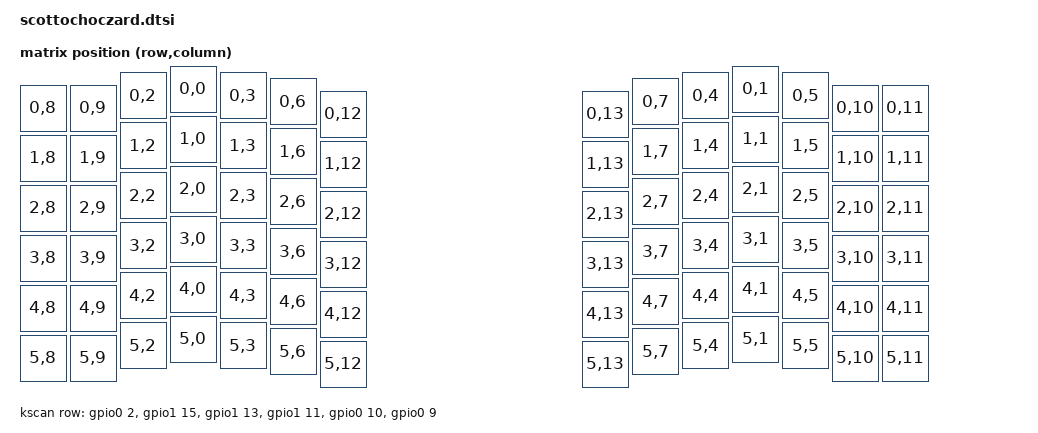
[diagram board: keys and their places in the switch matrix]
#include <physical_layouts.dtsi>
#include <dt-bindings/zmk/matrix_transform.h>

/ {
    chosen {
        zmk,physical-layout = &layout;
    };

    kscan: kscan {
        compatible = "zmk,kscan-gpio-matrix";
        diode-direction = "col2row";

        row-gpios =  <&gpio0 2 (GPIO_ACTIVE_HIGH | GPIO_PULL_DOWN)>,   /* Row 0 GPIO 002 */ 
                     <&gpio1 15 (GPIO_ACTIVE_HIGH | GPIO_PULL_DOWN)>,  /* Row 1 GPIO 115 */ 
                     <&gpio1 13 (GPIO_ACTIVE_HIGH | GPIO_PULL_DOWN)>,  /* Row 2 GPIO 113 */ 
                     <&gpio1 11 (GPIO_ACTIVE_HIGH | GPIO_PULL_DOWN)>,  /* Row 3 GPIO 111 */ 
                     <&gpio0 10 (GPIO_ACTIVE_HIGH | GPIO_PULL_DOWN)>,  /* Row 4 GPIO 010 */ 
                     <&gpio0 9 (GPIO_ACTIVE_HIGH | GPIO_PULL_DOWN)>;   /* Row 5 GPIO 009 */
    };

    transform: matrix_transform {
        compatible = "zmk,matrix-transform";
        rows = <6>;
        columns = <14>;

        map = <
            RC(0,0) RC(0,1) RC(0,2) RC(0,3) RC(0,4) RC(0,5) RC(0,6) RC(0,7) RC(0,8) RC(0,9) RC(0,10) RC(0,11) RC(0,12) RC(0,13)
            RC(1,0) RC(1,1) RC(1,2) RC(1,3) RC(1,4) RC(1,5) RC(1,6) RC(1,7) RC(1,8) RC(1,9) RC(1,10) RC(1,11) RC(1,12) RC(1,13)
            RC(2,0) RC(2,1) RC(2,2) RC(2,3) RC(2,4) RC(2,5) RC(2,6) RC(2,7) RC(2,8) RC(2,9) RC(2,10) RC(2,11) RC(2,12) RC(2,13)
            RC(3,0) RC(3,1) RC(3,2) RC(3,3) RC(3,4) RC(3,5) RC(3,6) RC(3,7) RC(3,8) RC(3,9) RC(3,10) RC(3,11) RC(3,12) RC(3,13)
            RC(4,0) RC(4,1) RC(4,2) RC(4,3) RC(4,4) RC(4,5) RC(4,6) RC(4,7) RC(4,8) RC(4,9) RC(4,10) RC(4,11) RC(4,12) RC(4,13)
            RC(5,0) RC(5,1) RC(5,2) RC(5,3) RC(5,4) RC(5,5) RC(5,6) RC(5,7) RC(5,8) RC(5,9) RC(5,10) RC(5,11) RC(5,12) RC(5,13)
        >;
    };

    layout: layout {
        compatible = "zmk,physical-layout";
        display-name = "Split Ortho 6x7";
        transform = <&transform>;
        kscan = <&kscan>;

        keys  //                        w   h   x       y  rot  rx  ry
            =	<&key_physical_attrs	100	100	300	0	0	0	0	>
            ,	<&key_physical_attrs	100	100	1425	0	0	0	0	>
            ,	<&key_physical_attrs	100	100	200	13	0	0	0	>
            ,	<&key_physical_attrs	100	100	400	13	0	0	0	>
            ,	<&key_physical_attrs	100	100	1325	13	0	0	0	>
            ,	<&key_physical_attrs	100	100	1525	13	0	0	0	>
            ,	<&key_physical_attrs	100	100	500	25	0	0	0	>
            ,	<&key_physical_attrs	100	100	1225	25	0	0	0	>
            ,	<&key_physical_attrs	100	100	0	38	0	0	0	>
            ,	<&key_physical_attrs	100	100	100	38	0	0	0	>
            ,	<&key_physical_attrs	100	100	1625	38	0	0	0	>
            ,	<&key_physical_attrs	100	100	1725	38	0	0	0	>
            ,	<&key_physical_attrs	100	100	600	50	0	0	0	>
            ,	<&key_physical_attrs	100	100	1125	50	0	0	0	>
            ,	<&key_physical_attrs	100	100	300	100	0	0	0	>
            ,	<&key_physical_attrs	100	100	1425	100	0	0	0	>
            ,	<&key_physical_attrs	100	100	200	113	0	0	0	>
            ,	<&key_physical_attrs	100	100	400	113	0	0	0	>
            ,	<&key_physical_attrs	100	100	1325	113	0	0	0	>
            ,	<&key_physical_attrs	100	100	1525	113	0	0	0	>
            ,	<&key_physical_attrs	100	100	500	125	0	0	0	>
            ,	<&key_physical_attrs	100	100	1225	125	0	0	0	>
            ,	<&key_physical_attrs	100	100	0	138	0	0	0	>
            ,	<&key_physical_attrs	100	100	100	138	0	0	0	>
            ,	<&key_physical_attrs	100	100	1625	138	0	0	0	>
            ,	<&key_physical_attrs	100	100	1725	138	0	0	0	>
            ,	<&key_physical_attrs	100	100	600	150	0	0	0	>
            ,	<&key_physical_attrs	100	100	1125	150	0	0	0	>
            ,	<&key_physical_attrs	100	100	300	200	0	0	0	>
            ,	<&key_physical_attrs	100	100	1425	200	0	0	0	>
            ,	<&key_physical_attrs	100	100	200	213	0	0	0	>
            ,	<&key_physical_attrs	100	100	400	213	0	0	0	>
            ,	<&key_physical_attrs	100	100	1325	213	0	0	0	>
            ,	<&key_physical_attrs	100	100	1525	213	0	0	0	>
            ,	<&key_physical_attrs	100	100	500	225	0	0	0	>
            ,	<&key_physical_attrs	100	100	1225	225	0	0	0	>
            ,	<&key_physical_attrs	100	100	0	238	0	0	0	>
            ,	<&key_physical_attrs	100	100	100	238	0	0	0	>
            ,	<&key_physical_attrs	100	100	1625	238	0	0	0	>
            ,	<&key_physical_attrs	100	100	1725	238	0	0	0	>
            ,	<&key_physical_attrs	100	100	600	250	0	0	0	>
            ,	<&key_physical_attrs	100	100	1125	250	0	0	0	>
            ,	<&key_physical_attrs	100	100	300	300	0	0	0	>
            ,	<&key_physical_attrs	100	100	1425	300	0	0	0	>
            ,	<&key_physical_attrs	100	100	200	313	0	0	0	>
            ,	<&key_physical_attrs	100	100	400	313	0	0	0	>
            ,	<&key_physical_attrs	100	100	1325	313	0	0	0	>
            ,	<&key_physical_attrs	100	100	1525	313	0	0	0	>
            ,	<&key_physical_attrs	100	100	500	325	0	0	0	>
            ,	<&key_physical_attrs	100	100	1225	325	0	0	0	>
            ,	<&key_physical_attrs	100	100	0	338	0	0	0	>
            ,	<&key_physical_attrs	100	100	100	338	0	0	0	>
            ,	<&key_physical_attrs	100	100	1625	338	0	0	0	>
            ,	<&key_physical_attrs	100	100	1725	338	0	0	0	>
            ,	<&key_physical_attrs	100	100	600	350	0	0	0	>
            ,	<&key_physical_attrs	100	100	1125	350	0	0	0	>
            ,	<&key_physical_attrs	100	100	300	400	0	0	0	>
            ,	<&key_physical_attrs	100	100	1425	400	0	0	0	>
            ,	<&key_physical_attrs	100	100	200	413	0	0	0	>
            ,	<&key_physical_attrs	100	100	400	413	0	0	0	>
            ,	<&key_physical_attrs	100	100	1325	413	0	0	0	>
            ,	<&key_physical_attrs	100	100	1525	413	0	0	0	>
            ,	<&key_physical_attrs	100	100	500	425	0	0	0	>
            ,	<&key_physical_attrs	100	100	1225	425	0	0	0	>
            ,	<&key_physical_attrs	100	100	0	438	0	0	0	>
            ,	<&key_physical_attrs	100	100	100	438	0	0	0	>
            ,	<&key_physical_attrs	100	100	1625	438	0	0	0	>
            ,	<&key_physical_attrs	100	100	1725	438	0	0	0	>
            ,	<&key_physical_attrs	100	100	600	450	0	0	0	>
            ,	<&key_physical_attrs	100	100	1125	450	0	0	0	>
            ,	<&key_physical_attrs	100	100	300	500	0	0	0	>
            ,	<&key_physical_attrs	100	100	1425	500	0	0	0	>
            ,	<&key_physical_attrs	100	100	200	513	0	0	0	>
            ,	<&key_physical_attrs	100	100	400	513	0	0	0	>
            ,	<&key_physical_attrs	100	100	1325	513	0	0	0	>
            ,	<&key_physical_attrs	100	100	1525	513	0	0	0	>
            ,	<&key_physical_attrs	100	100	500	525	0	0	0	>
            ,	<&key_physical_attrs	100	100	1225	525	0	0	0	>
            ,	<&key_physical_attrs	100	100	0	538	0	0	0	>
            ,	<&key_physical_attrs	100	100	100	538	0	0	0	>
            ,	<&key_physical_attrs	100	100	1625	538	0	0	0	>
            ,	<&key_physical_attrs	100	100	1725	538	0	0	0	>
            ,	<&key_physical_attrs	100	100	600	550	0	0	0	>
            ,	<&key_physical_attrs	100	100	1125	550	0	0	0	>
            ;
    };
};
